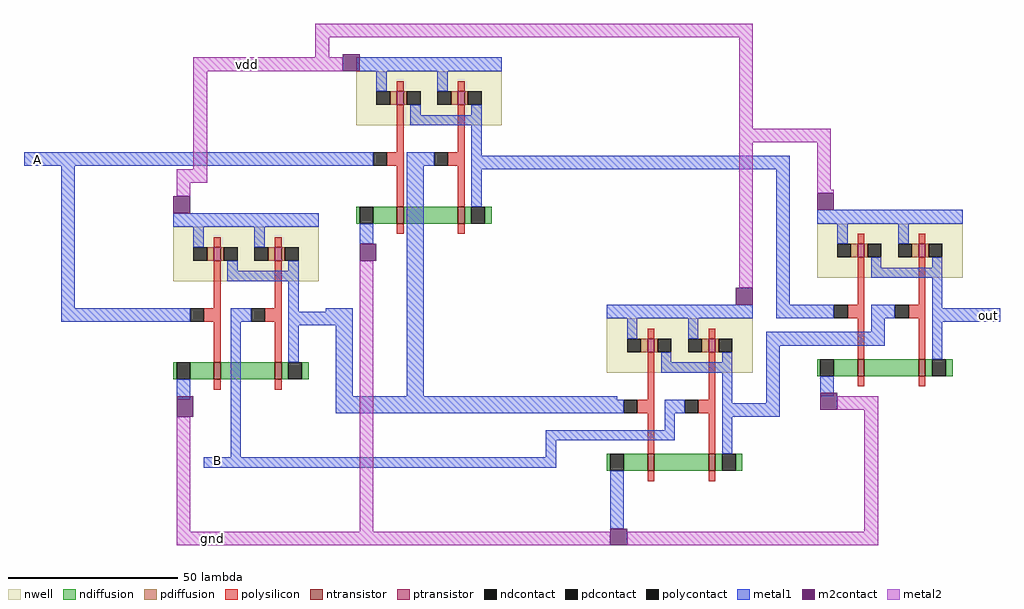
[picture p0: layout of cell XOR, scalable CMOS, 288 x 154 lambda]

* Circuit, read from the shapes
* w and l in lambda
.subckt XOR A B gnd out vdd
M1 n1 A gnd VSUBS nfet w=5 l=2
M2 NAND_3/A B n1 VSUBS nfet w=5 l=2
M3 n2 A gnd VSUBS nfet w=5 l=2
M4 NAND_1/A NAND_3/A n2 VSUBS nfet w=5 l=2
M5 n3 NAND_3/A gnd VSUBS nfet w=5 l=2
M6 NAND_1/B B n3 VSUBS nfet w=5 l=2
M7 n4 NAND_1/A gnd VSUBS nfet w=5 l=2
M8 out NAND_1/B n4 VSUBS nfet w=5 l=2
M9 NAND_3/A A vdd n5 pfet w=4 l=2
M10 NAND_3/A B vdd n5 pfet w=4 l=2
M11 NAND_1/A A vdd n6 pfet w=4 l=2
M12 NAND_1/A NAND_3/A vdd n6 pfet w=4 l=2
M13 NAND_1/B NAND_3/A vdd n7 pfet w=4 l=2
M14 NAND_1/B B vdd n7 pfet w=4 l=2
M15 out NAND_1/A vdd n8 pfet w=4 l=2
M16 out NAND_1/B vdd n8 pfet w=4 l=2
.ends

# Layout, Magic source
magic
tech scmos
<< metal1 >>
rect -136 24 -33 28
rect -125 -18 -121 24
rect -37 1 -33 2
rect -125 -22 -90 -18
rect -75 -21 -69 -18
rect -75 -62 -72 -21
rect -47 -23 -39 -18
rect -44 -44 -39 -23
rect -23 -44 -18 28
rect 3 23 90 27
rect 86 -17 90 23
rect 86 -21 100 -17
rect 114 -25 118 -17
rect 139 -22 152 -18
rect 83 -29 118 -25
rect -44 -46 39 -44
rect -44 -49 41 -46
rect 53 -54 56 -45
rect 83 -46 87 -29
rect 77 -50 87 -46
rect 99 -43 103 -40
rect 18 -57 56 -54
rect 18 -62 21 -57
rect -83 -65 21 -62
rect 37 -83 41 -72
<< m2contact >>
rect -42 52 -37 57
rect -92 10 -87 15
rect -37 -4 -32 1
rect -91 -50 -86 -44
rect 74 -17 79 -12
rect 98 11 103 16
rect 99 -48 104 -43
rect 37 -88 42 -83
<< metal2 >>
rect -50 62 79 66
rect -50 56 -46 62
rect -86 52 -42 56
rect -86 23 -82 52
rect -91 19 -82 23
rect 75 35 79 62
rect 75 31 102 35
rect -91 15 -87 19
rect -91 -84 -87 -50
rect -37 -84 -33 -4
rect 75 -12 79 31
rect 98 17 102 31
rect 98 16 103 17
rect 104 -48 116 -44
rect -91 -88 37 -84
rect 112 -84 116 -48
rect 42 -88 116 -84
use NAND  NAND_0
transform 1 0 -37 0 1 37
box -1 -36 44 19
use NAND  NAND_1
transform 1 0 99 0 1 -8
box -1 -36 44 19
use NAND  NAND_2
transform 1 0 -91 0 1 -9
box -1 -36 44 19
use NAND  NAND_3
transform 1 0 37 0 1 -36
box -1 -36 44 19
<< labels >>
rlabel metal1 -134 25 -130 27 3 A
rlabel metal1 -81 -64 -77 -62 1 B
rlabel metal2 -83 -87 -78 -85 1 gnd
rlabel metal1 147 -21 150 -19 7 out
rlabel metal2 -73 53 -67 55 1 vdd
<< end >>

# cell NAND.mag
magic
tech scmos
<< nwell >>
rect -1 -1 42 15
<< ntransistor >>
rect 11 -30 13 -25
rect 29 -30 31 -25
<< ptransistor >>
rect 11 5 13 9
rect 29 5 31 9
<< ndiffusion >>
rect -1 -30 0 -25
rect 4 -30 11 -25
rect 13 -30 29 -25
rect 31 -30 33 -25
rect 37 -30 39 -25
<< pdiffusion >>
rect 9 5 11 9
rect 13 5 14 9
rect 27 5 29 9
rect 31 5 32 9
<< ndcontact >>
rect 0 -30 4 -25
rect 33 -30 37 -25
<< pdcontact >>
rect 5 5 9 9
rect 14 5 18 9
rect 23 5 27 9
rect 32 5 36 9
<< polysilicon >>
rect 11 9 13 12
rect 29 9 31 12
rect 11 -9 13 5
rect 29 -9 31 5
rect 8 -13 13 -9
rect 26 -13 31 -9
rect 11 -25 13 -13
rect 29 -25 31 -13
rect 11 -33 13 -30
rect 29 -33 31 -30
<< polycontact >>
rect 4 -13 8 -9
rect 22 -13 26 -9
<< metal1 >>
rect -1 15 42 19
rect 5 9 8 15
rect 23 9 26 15
rect 15 2 18 5
rect 33 2 36 5
rect 15 -1 36 2
rect 1 -13 4 -9
rect 19 -13 22 -9
rect 33 -10 36 -1
rect 33 -14 44 -10
rect 33 -25 36 -14
rect 0 -36 4 -30
<< labels >>
rlabel metal1 2 -12 3 -10 3 A
rlabel metal1 20 -12 21 -10 1 B
rlabel metal1 0 16 3 18 4 vdd
rlabel metal1 39 -13 42 -11 7 out
rlabel metal1 1 -35 3 -33 2 gnd
<< end >>
